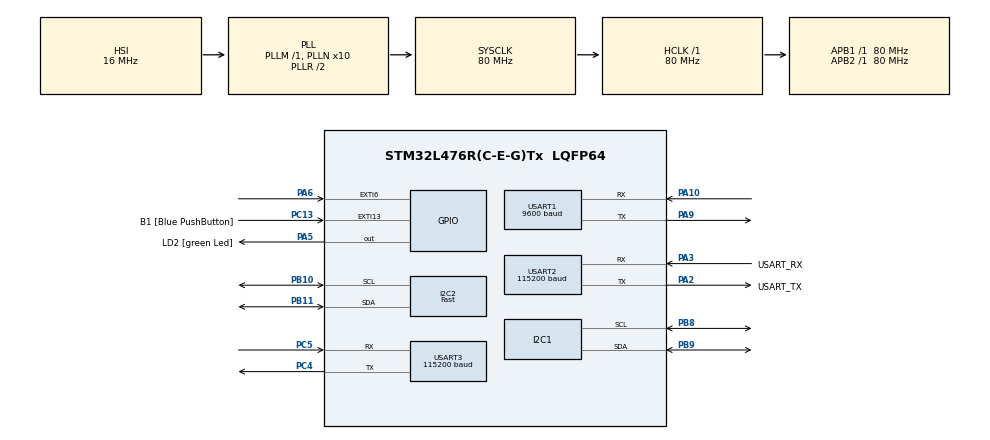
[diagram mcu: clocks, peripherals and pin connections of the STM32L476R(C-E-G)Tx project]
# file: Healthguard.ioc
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I2C1.Timing=0x10909CEC
I2C2.I2C_Speed_Mode=I2C_Fast
I2C2.Timing=0x00702991
Mcu.Family=STM32L4
Mcu.Name=STM32L476R(C-E-G)Tx
Mcu.Package=LQFP64
NVIC.EXTI9_5_IRQn=true\:0\:0\:false\:false\:true\:true\:true\:true
NVIC.PriorityGroup=NVIC_PRIORITYGROUP_4
PA10.Mode=Asynchronous
PA10.Signal=USART1_RX
PA13\ (JTMS-SWDIO).GPIO_Label=TMS
PA13\ (JTMS-SWDIO).Mode=Serial_Wire
PA13\ (JTMS-SWDIO).Signal=SYS_JTMS-SWDIO
PA14\ (JTCK-SWCLK).GPIO_Label=TCK
PA14\ (JTCK-SWCLK).Mode=Serial_Wire
PA14\ (JTCK-SWCLK).Signal=SYS_JTCK-SWCLK
PA2.GPIO_Label=USART_TX
PA2.GPIO_Mode=GPIO_MODE_AF_PP
PA2.GPIO_PuPd=GPIO_NOPULL
PA2.GPIO_Speed=GPIO_SPEED_FREQ_VERY_HIGH
PA2.Mode=Asynchronous
PA2.Signal=USART2_TX
PA3.GPIO_Label=USART_RX
PA3.GPIO_Mode=GPIO_MODE_AF_PP
PA3.GPIO_PuPd=GPIO_NOPULL
PA3.GPIO_Speed=GPIO_SPEED_FREQ_VERY_HIGH
PA3.Mode=Asynchronous
PA3.Signal=USART2_RX
PA5.GPIO_Label=LD2 [green Led]
PA5.GPIO_ModeDefaultOutputPP=GPIO_MODE_OUTPUT_PP
PA5.GPIO_PuPd=GPIO_NOPULL
PA5.GPIO_Speed=GPIO_SPEED_FREQ_LOW
PA5.Signal=GPIO_Output
PA6.GPIO_PuPd=GPIO_PULLUP
PA6.Signal=GPXTI6
PA9.Mode=Asynchronous
PA9.Signal=USART1_TX
PB10.Mode=I2C
PB10.Signal=I2C2_SCL
PB11.Mode=I2C
PB11.Signal=I2C2_SDA
PB3\ (JTDO-TRACESWO).GPIO_Label=SWO
PB3\ (JTDO-TRACESWO).Signal=SYS_JTDO-SWO
PB8.Mode=I2C
PB8.Signal=I2C1_SCL
PB9.Mode=I2C
PB9.Signal=I2C1_SDA
PC13.GPIO_Label=B1 [Blue PushButton]
PC13.GPIO_ModeDefaultEXTI=GPIO_MODE_IT_FALLING
PC13.GPIO_PuPd=GPIO_NOPULL
PC13.Signal=GPXTI13
PC14-OSC32_IN\ (PC14).Mode=LSE-External-Oscillator
PC14-OSC32_IN\ (PC14).Signal=RCC_OSC32_IN
PC15-OSC32_OUT\ (PC15).Mode=LSE-External-Oscillator
PC15-OSC32_OUT\ (PC15).Signal=RCC_OSC32_OUT
PC4.Mode=Asynchronous
PC4.Signal=USART3_TX
PC5.Mode=Asynchronous
PC5.Signal=USART3_RX
PH0-OSC_IN\ (PH0).Signal=RCC_OSC_IN
PH1-OSC_OUT\ (PH1).Signal=RCC_OSC_OUT
ProjectManager.HeapSize=0x200
ProjectManager.StackSize=0x400
ProjectManager.TargetToolchain=STM32CubeIDE
RCC.ADCFreq_Value=64000000
RCC.AHBFreq_Value=80000000
RCC.APB1Freq_Value=80000000
RCC.APB1TimFreq_Value=80000000
RCC.APB2Freq_Value=80000000
RCC.APB2TimFreq_Value=80000000
RCC.CortexFreq_Value=80000000
RCC.HCLKFreq_Value=80000000
RCC.HSE_VALUE=8000000
RCC.HSI_VALUE=16000000
RCC.MSI_VALUE=4000000
RCC.PLLN=10
RCC.PLLSourceVirtual=RCC_PLLSOURCE_HSI
RCC.PREFETCH_ENABLE=1
RCC.SYSCLKFreq_VALUE=80000000
RCC.SYSCLKSource=RCC_SYSCLKSOURCE_PLLCLK
RCC.USBFreq_Value=64000000
RCC.VCOOutputFreq_Value=160000000
USART1.BaudRate=9600
USART1.VirtualMode-Asynchronous=VM_ASYNC
USART2.BaudRate=115200
USART2.Parity=PARITY_NONE
USART2.VirtualMode-Asynchronous=VM_ASYNC
USART3.BaudRate=115200
USART3.VirtualMode-Asynchronous=VM_ASYNC
board=NUCLEO-L476RG

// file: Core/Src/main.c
#include "main.h"

/* USER CODE BEGIN Includes */
#include <string.h>
#include <stdio.h>
#include "mpu6050.h"
#include "max_30102.h"

I2C_HandleTypeDef hi2c2;

UART_HandleTypeDef huart1;
UART_HandleTypeDef huart2;
UART_HandleTypeDef huart3;

/* USER CODE BEGIN PV */
int fall=0;
uint8_t buf[20];

uint16_t offset;
int16_t Accel_X_RAW,Accel_Y_RAW,Accel_Z_RAW,Gyro_X_RAW,Gyro_Y_RAW,Gyro_Z_RAW,TEMP_RAW,gyro_x_offset,gyro_y_offset,gyro_z_offset,accel_x_offset,accel_y_offset,accel_z_offset;
float	Accel_mag=0;
float 	Ax=0;
float 	Ay=0;
float 	Az=0;
float 	Gx=0;
float 	Gy=0;
float 	Gz=0;
float 	ax_filtred=0;
float 	ay_filtred=0;
float 	az_filtred=0;
float 	gx_filtred=0;
float 	gy_filtred=0;
float 	gz_filtred=0;
float 	ALPHA = 0.5;
float 	pitch=0;
float 	roll=0;
float 	accel_mag_threshold=14.7f;
char fall_str[3];
/* USER CODE END PV */

void SystemClock_Config(void);
static void MX_GPIO_Init(void);
static void MX_USART2_UART_Init(void);
static void MX_I2C1_Init(void);
static void MX_USART1_UART_Init(void);
static void MX_I2C2_Init(void);
static void MX_USART3_UART_Init(void);
/* USER CODE BEGIN PFP */
void send_USART1(char* data)
{
    HAL_UART_Transmit(&huart1, (uint8_t*)data, strlen(data), HAL_MAX_DELAY);
}
/* USER CODE END PFP */

int main(void)
{

  /* MCU Configuration--------------------------------------------------------*/

  /* Reset of all peripherals, Initializes the Flash interface and the Systick. */
  HAL_Init();

  /* Configure the system clock */
  SystemClock_Config();

  /* Initialize all configured peripherals */
  MX_GPIO_Init();
  MX_USART2_UART_Init();
  MX_I2C1_Init();
  MX_USART1_UART_Init();
  MX_I2C2_Init();
  MX_USART3_UART_Init();
  /* USER CODE BEGIN 2 */
   MAX30102_Init();
   MAX30102_SetLEDpulses(0x3A,0x3A);
   MPU6050_init();
   MPU6050_Calibrate();
  /* USER CODE END 2 */

  /* Infinite loop */
   while (1)
   {

    /* USER CODE BEGIN 3 */
	   if (HAL_GPIO_ReadPin(GPIOA, GPIO_PIN_6) == GPIO_PIN_RESET)
	  	   	   	  {

	  	   	   		  HAL_GPIO_TogglePin(GPIOA, GPIO_PIN_5);
	  	   	   		  MAX30102_Calc();
	  	   	   		  uint8_t SpO2 = max30102_getSpO2();
	  	   	   		  uint8_t heartbeat = max30102_getHeartRate();
	  	   	   		  sprintf((char*)buf,"%u BPM %u SpO2\r\n",((unsigned int)heartbeat),((unsigned int)SpO2));
	  	   	   		   HAL_UART_Transmit(&huart2,buf,  strlen((char*)buf), 20) ;

	  	   	   	  }

	   	   accel_read();
	   	   gyro_read();
	   	   magandangle();
	   	   pitchandroll(0.95);
	   	   fall=isfall();
	   	   if(fall==1)
	   	   {
	   		   sprintf(fall_str, "%d%c", fall,'\n');
	   	   	   //Send fall over USART1
	   		   //send_USART1("person has fallen");
	   		   send_USART1(fall_str);

	   		   HAL_Delay(6000);
	   	   }

   }

  /* USER CODE END 3 */
}

void SystemClock_Config(void)
{
  RCC_OscInitTypeDef RCC_OscInitStruct = {0};
  RCC_ClkInitTypeDef RCC_ClkInitStruct = {0};

  /** Configure the main internal regulator output voltage
  */
  if (HAL_PWREx_ControlVoltageScaling(PWR_REGULATOR_VOLTAGE_SCALE1) != HAL_OK)
  {
    Error_Handler();
  }

  /** Initializes the RCC Oscillators according to the specified parameters
  * in the RCC_OscInitTypeDef structure.
  */
  RCC_OscInitStruct.OscillatorType = RCC_OSCILLATORTYPE_HSI;
  RCC_OscInitStruct.HSIState = RCC_HSI_ON;
  RCC_OscInitStruct.HSICalibrationValue = RCC_HSICALIBRATION_DEFAULT;
  RCC_OscInitStruct.PLL.PLLState = RCC_PLL_ON;
  RCC_OscInitStruct.PLL.PLLSource = RCC_PLLSOURCE_HSI;
  RCC_OscInitStruct.PLL.PLLM = 1;
  RCC_OscInitStruct.PLL.PLLN = 10;
  RCC_OscInitStruct.PLL.PLLP = RCC_PLLP_DIV7;
  RCC_OscInitStruct.PLL.PLLQ = RCC_PLLQ_DIV2;
  RCC_OscInitStruct.PLL.PLLR = RCC_PLLR_DIV2;
  if (HAL_RCC_OscConfig(&RCC_OscInitStruct) != HAL_OK)
  {
    Error_Handler();
  }

  /** Initializes the CPU, AHB and APB buses clocks
  */
  RCC_ClkInitStruct.ClockType = RCC_CLOCKTYPE_HCLK|RCC_CLOCKTYPE_SYSCLK
                              |RCC_CLOCKTYPE_PCLK1|RCC_CLOCKTYPE_PCLK2;
  RCC_ClkInitStruct.SYSCLKSource = RCC_SYSCLKSOURCE_PLLCLK;
  RCC_ClkInitStruct.AHBCLKDivider = RCC_SYSCLK_DIV1;
  RCC_ClkInitStruct.APB1CLKDivider = RCC_HCLK_DIV1;
  RCC_ClkInitStruct.APB2CLKDivider = RCC_HCLK_DIV1;

  if (HAL_RCC_ClockConfig(&RCC_ClkInitStruct, FLASH_LATENCY_4) != HAL_OK)
  {
    Error_Handler();
  }
}

static void MX_I2C1_Init(void)
{

  hi2c1.Instance = I2C1;
  hi2c1.Init.Timing = 0x10909CEC;
  hi2c1.Init.OwnAddress1 = 0;
  hi2c1.Init.AddressingMode = I2C_ADDRESSINGMODE_7BIT;
  hi2c1.Init.DualAddressMode = I2C_DUALADDRESS_DISABLE;
  hi2c1.Init.OwnAddress2 = 0;
  hi2c1.Init.OwnAddress2Masks = I2C_OA2_NOMASK;
  hi2c1.Init.GeneralCallMode = I2C_GENERALCALL_DISABLE;
  hi2c1.Init.NoStretchMode = I2C_NOSTRETCH_DISABLE;
  if (HAL_I2C_Init(&hi2c1) != HAL_OK)
  {
    Error_Handler();
  }

  /** Configure Analogue filter
  */
  if (HAL_I2CEx_ConfigAnalogFilter(&hi2c1, I2C_ANALOGFILTER_ENABLE) != HAL_OK)
  {
    Error_Handler();
  }

  /** Configure Digital filter
  */
  if (HAL_I2CEx_ConfigDigitalFilter(&hi2c1, 0) != HAL_OK)
  {
    Error_Handler();
  }

}

static void MX_I2C2_Init(void)
{

  hi2c2.Instance = I2C2;
  hi2c2.Init.Timing = 0x00702991;
  hi2c2.Init.OwnAddress1 = 0;
  hi2c2.Init.AddressingMode = I2C_ADDRESSINGMODE_7BIT;
  hi2c2.Init.DualAddressMode = I2C_DUALADDRESS_DISABLE;
  hi2c2.Init.OwnAddress2 = 0;
  hi2c2.Init.OwnAddress2Masks = I2C_OA2_NOMASK;
  hi2c2.Init.GeneralCallMode = I2C_GENERALCALL_DISABLE;
  hi2c2.Init.NoStretchMode = I2C_NOSTRETCH_DISABLE;
  if (HAL_I2C_Init(&hi2c2) != HAL_OK)
  {
    Error_Handler();
  }

  /** Configure Analogue filter
  */
  if (HAL_I2CEx_ConfigAnalogFilter(&hi2c2, I2C_ANALOGFILTER_ENABLE) != HAL_OK)
  {
    Error_Handler();
  }

  /** Configure Digital filter
  */
  if (HAL_I2CEx_ConfigDigitalFilter(&hi2c2, 0) != HAL_OK)
  {
    Error_Handler();
  }

}

static void MX_USART1_UART_Init(void)
{

  huart1.Instance = USART1;
  huart1.Init.BaudRate = 9600;
  huart1.Init.WordLength = UART_WORDLENGTH_8B;
  huart1.Init.StopBits = UART_STOPBITS_1;
  huart1.Init.Parity = UART_PARITY_NONE;
  huart1.Init.Mode = UART_MODE_TX_RX;
  huart1.Init.HwFlowCtl = UART_HWCONTROL_NONE;
  huart1.Init.OverSampling = UART_OVERSAMPLING_16;
  huart1.Init.OneBitSampling = UART_ONE_BIT_SAMPLE_DISABLE;
  huart1.AdvancedInit.AdvFeatureInit = UART_ADVFEATURE_NO_INIT;
  if (HAL_UART_Init(&huart1) != HAL_OK)
  {
    Error_Handler();
  }

}

static void MX_USART2_UART_Init(void)
{

  huart2.Instance = USART2;
  huart2.Init.BaudRate = 115200;
  huart2.Init.WordLength = UART_WORDLENGTH_8B;
  huart2.Init.StopBits = UART_STOPBITS_1;
  huart2.Init.Parity = UART_PARITY_NONE;
  huart2.Init.Mode = UART_MODE_TX_RX;
  huart2.Init.HwFlowCtl = UART_HWCONTROL_NONE;
  huart2.Init.OverSampling = UART_OVERSAMPLING_16;
  huart2.Init.OneBitSampling = UART_ONE_BIT_SAMPLE_DISABLE;
  huart2.AdvancedInit.AdvFeatureInit = UART_ADVFEATURE_NO_INIT;
  if (HAL_UART_Init(&huart2) != HAL_OK)
  {
    Error_Handler();
  }

}

static void MX_USART3_UART_Init(void)
{

  huart3.Instance = USART3;
  huart3.Init.BaudRate = 115200;
  huart3.Init.WordLength = UART_WORDLENGTH_8B;
  huart3.Init.StopBits = UART_STOPBITS_1;
  huart3.Init.Parity = UART_PARITY_NONE;
  huart3.Init.Mode = UART_MODE_TX_RX;
  huart3.Init.HwFlowCtl = UART_HWCONTROL_NONE;
  huart3.Init.OverSampling = UART_OVERSAMPLING_16;
  huart3.Init.OneBitSampling = UART_ONE_BIT_SAMPLE_DISABLE;
  huart3.AdvancedInit.AdvFeatureInit = UART_ADVFEATURE_NO_INIT;
  if (HAL_UART_Init(&huart3) != HAL_OK)
  {
    Error_Handler();
  }

}

static void MX_GPIO_Init(void)
{
  GPIO_InitTypeDef GPIO_InitStruct = {0};

  /* GPIO Ports Clock Enable */
  __HAL_RCC_GPIOC_CLK_ENABLE();
  __HAL_RCC_GPIOH_CLK_ENABLE();
  __HAL_RCC_GPIOA_CLK_ENABLE();
  __HAL_RCC_GPIOB_CLK_ENABLE();

  /*Configure GPIO pin Output Level */
  HAL_GPIO_WritePin(LD2_GPIO_Port, LD2_Pin, GPIO_PIN_RESET);

  /*Configure GPIO pin : B1_Pin */
  GPIO_InitStruct.Pin = B1_Pin;
  GPIO_InitStruct.Mode = GPIO_MODE_IT_FALLING;
  GPIO_InitStruct.Pull = GPIO_NOPULL;
  HAL_GPIO_Init(B1_GPIO_Port, &GPIO_InitStruct);

  /*Configure GPIO pin : LD2_Pin */
  GPIO_InitStruct.Pin = LD2_Pin;
  GPIO_InitStruct.Mode = GPIO_MODE_OUTPUT_PP;
  GPIO_InitStruct.Pull = GPIO_NOPULL;
  GPIO_InitStruct.Speed = GPIO_SPEED_FREQ_LOW;
  HAL_GPIO_Init(LD2_GPIO_Port, &GPIO_InitStruct);

  /*Configure GPIO pin : PA6 */
  GPIO_InitStruct.Pin = GPIO_PIN_6;
  GPIO_InitStruct.Mode = GPIO_MODE_IT_RISING;
  GPIO_InitStruct.Pull = GPIO_PULLUP;
  HAL_GPIO_Init(GPIOA, &GPIO_InitStruct);

  /* EXTI interrupt init*/
  HAL_NVIC_SetPriority(EXTI9_5_IRQn, 0, 0);
  HAL_NVIC_EnableIRQ(EXTI9_5_IRQn);

}

void Error_Handler(void)
{
  __disable_irq();
  while (1)
  {
  }
}
